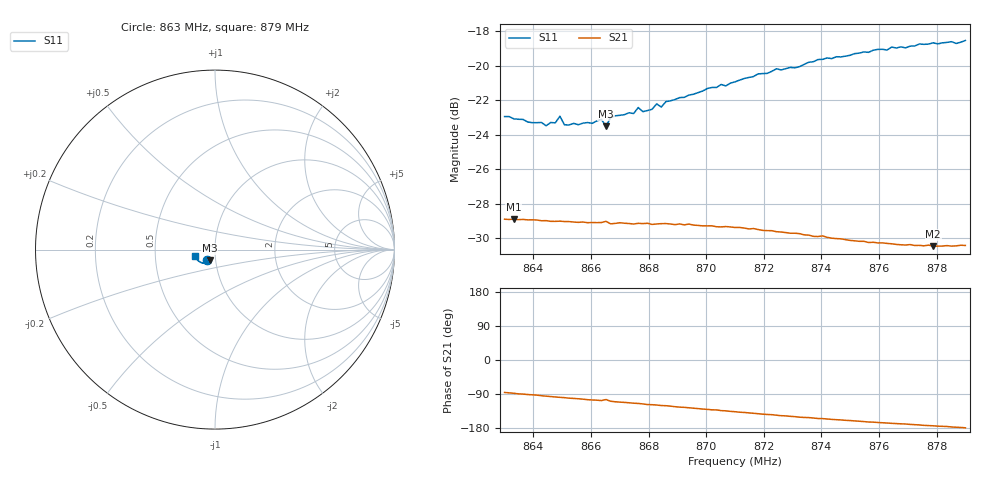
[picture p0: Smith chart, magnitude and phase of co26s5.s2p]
# HZ S RI R 50
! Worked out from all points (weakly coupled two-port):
!   101 points, 863 MHz to 879 MHz, reference 50 ohm
!   highest |S21| = -28.89 dB at 863.32 MHz (marker M1); lowest = -30.5 dB at 877.88 MHz (marker M2)
!   lowest |S11| = -23.5 dB at 866.52 MHz (marker M3), VSWR 1.14, Z = 46.7 - j5.59 ohm
!   |S11| at or under -10 dB: start of sweep to end of sweep
!   S12 and S22 are empty: the file has one direction only
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8.63e8  -0.0439 -0.0561  0.00273 -0.0358  0 0  0 0
8.6332e8  -0.0424 -0.0559  0.00137 -0.0359  0 0  0 0
8.6444e8  -0.0382 -0.0551  -0.00334 -0.0354  0 0  0 0
8.6476e8  -0.0377 -0.057  -0.00463 -0.0351  0 0  0 0
8.6492e8  -0.0422 -0.0576  -0.00525 -0.0351  0 0  0 0
8.6508e8  -0.0354 -0.0573  -0.00576 -0.0349  0 0  0 0
8.6572e8  -0.0344 -0.0588  -0.00813 -0.0343  0 0  0 0
8.6636e8  -0.0351 -0.0605  -0.0103 -0.0336  0 0  0 0
8.6652e8  -0.0303 -0.0596  -0.00874 -0.0343  0 0  0 0
8.6668e8  -0.0343 -0.0618  -0.0112 -0.033  0 0  0 0
8.6748e8  -0.0341 -0.0642  -0.0141 -0.0318  0 0  0 0
8.6764e8  -0.0359 -0.0666  -0.0146 -0.0318  0 0  0 0
8.678e8  -0.0353 -0.0646  -0.0152 -0.0314  0 0  0 0
8.6812e8  -0.0361 -0.0655  -0.0163 -0.0306  0 0  0 0
8.6828e8  -0.0373 -0.068  -0.0168 -0.0305  0 0  0 0
8.6844e8  -0.0362 -0.0667  -0.0175 -0.0301  0 0  0 0
8.686e8  -0.0377 -0.0691  -0.0178 -0.03  0 0  0 0
8.71e8  -0.0493 -0.075  -0.0246 -0.0234  0 0  0 0
8.7372e8  -0.0702 -0.0749  -0.0286 -0.0145  0 0  0 0
8.7644e8  -0.0957 -0.0606  -0.0297 -0.00677  0 0  0 0
8.7788e8  -0.1061 -0.0481  -0.0298 -0.00335  0 0  0 0
8.79e8  -0.1126 -0.0364  -0.0301 -0.000564  0 0  0 0
